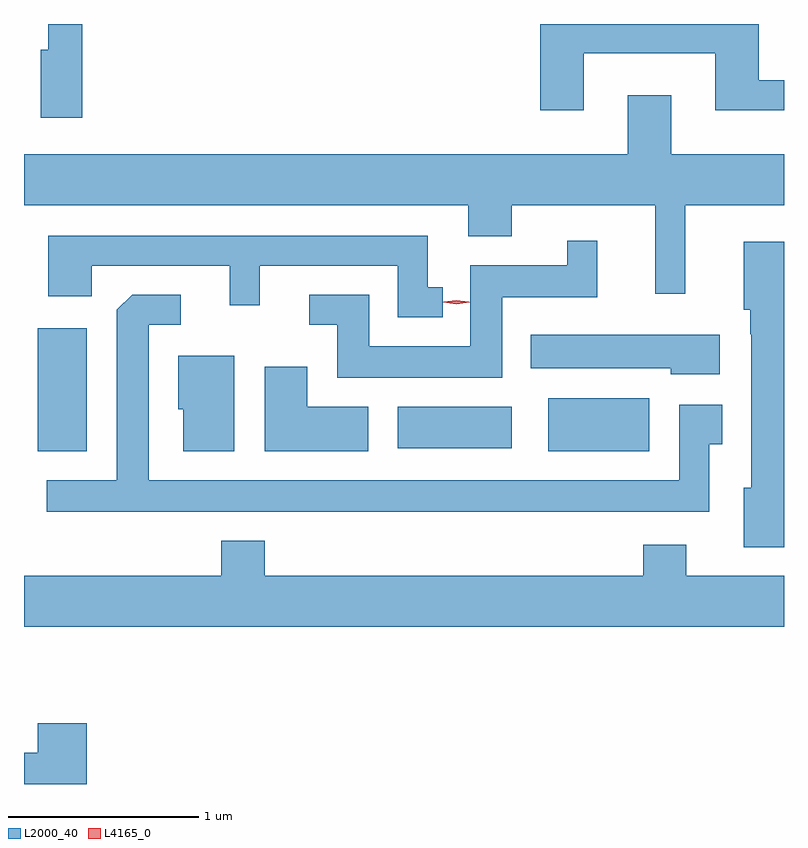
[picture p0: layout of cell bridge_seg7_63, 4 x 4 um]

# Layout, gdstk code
import gdstk
lib = gdstk.Library(unit=1e-6, precision=1e-09)
def R(c, l, rs):  # rectangles x0, y0, x1, y1
    for r in rs: c.add(gdstk.rectangle(r[:2], r[2:], *l))
def P(c, l, *ps):  # polygons
    for p in ps: c.add(gdstk.Polygon(p, *l))
L2000_40 = (2000, 40)
L4165_0 = (4165, 0)

bridge_seg7_63 = lib.new_cell('bridge_seg7_63')
R(bridge_seg7_63, L2000_40, [(1567.986,1770.741,1568.244,1771.389), (1570.671,1770.741,1571.204,1771.019), (1569.881,1770.756,1570.479,1770.974)])
P(bridge_seg7_63, L2000_40, [(1568.219,1772.989),(1568.041,1772.989),(1568.041,1772.854),(1568.001,1772.854),(1568.001,1772.496),(1568.219,1772.496)],
  [(1570.859,1772.836),(1571.551,1772.836),(1571.551,1772.536),(1571.913,1772.536),(1571.913,1772.694),(1571.779,1772.694),(1571.779,1772.989),(1570.631,1772.989),(1570.631,1772.536),(1570.859,1772.536)],
  [(1571.394,1772.036),(1571.913,1772.036),(1571.913,1772.304),(1571.319,1772.304),(1571.319,1772.614),(1571.091,1772.614),(1571.091,1772.304),(1567.913,1772.304),(1567.913,1772.036),(1570.251,1772.036),(1570.251,1771.871),(1570.479,1771.871),(1570.479,1772.036),(1571.236,1772.036),(1571.236,1771.568),(1571.394,1771.568)],
  [(1570.118,1771.604),(1570.039,1771.604),(1570.039,1771.874),(1568.041,1771.874),(1568.041,1771.556),(1568.269,1771.556),(1568.269,1771.716),(1568.996,1771.716),(1568.996,1771.508),(1569.154,1771.508),(1569.154,1771.716),(1569.881,1771.716),(1569.881,1771.446),(1570.118,1771.446)],
  [(1570.429,1771.551),(1570.929,1771.551),(1570.929,1771.848),(1570.771,1771.848),(1570.771,1771.719),(1570.261,1771.719),(1570.261,1771.294),(1569.729,1771.294),(1569.729,1771.564),(1569.413,1771.564),(1569.413,1771.406),(1569.561,1771.406),(1569.561,1771.126),(1570.429,1771.126)],
  [(1571.913,1771.844),(1571.701,1771.844),(1571.701,1771.486),(1571.736,1771.486),(1571.736,1771.355),(1571.741,1771.355),(1571.741,1770.549),(1571.701,1770.549),(1571.701,1770.236),(1571.913,1770.236)],
  [(1571.519,1770.776),(1571.589,1770.776),(1571.589,1770.984),(1571.361,1770.984),(1571.361,1770.589),(1568.569,1770.589),(1568.569,1771.406),(1568.738,1771.406),(1568.738,1771.564),(1568.482,1771.564),(1568.401,1771.484),(1568.401,1770.589),(1568.033,1770.589),(1568.033,1770.421),(1571.519,1770.421)],
  [(1571.574,1771.354),(1570.581,1771.354),(1570.581,1771.176),(1571.316,1771.176),(1571.316,1771.146),(1571.574,1771.146)],
  [(1569.019,1771.244),(1568.726,1771.244),(1568.726,1770.961),(1568.751,1770.961),(1568.751,1770.741),(1569.019,1770.741)],
  [(1569.724,1770.974),(1569.404,1770.974),(1569.404,1771.184),(1569.181,1771.184),(1569.181,1770.741),(1569.724,1770.741)],
  [(1571.913,1770.084),(1571.399,1770.084),(1571.399,1770.249),(1571.171,1770.249),(1571.171,1770.084),(1569.179,1770.084),(1569.179,1770.269),(1568.951,1770.269),(1568.951,1770.084),(1567.913,1770.084),(1567.913,1769.816),(1571.913,1769.816)],
  [(1568.244,1769.309),(1567.986,1769.309),(1567.986,1769.154),(1567.913,1769.154),(1567.913,1768.989),(1568.244,1768.989)])
P(bridge_seg7_63, L4165_0, [(1570.189,1771.515),(1570.12,1771.524),(1570.119,1771.525),(1570.12,1771.525),(1570.189,1771.535),(1570.258,1771.525),(1570.258,1771.525),(1570.258,1771.524)],
  [(1570.189,1771.515),(1570.123,1771.525),(1570.122,1771.525),(1570.123,1771.526),(1570.189,1771.535),(1570.255,1771.526),(1570.256,1771.525),(1570.255,1771.525)])

lib.write_gds('bridge_seg7_63.gds')
